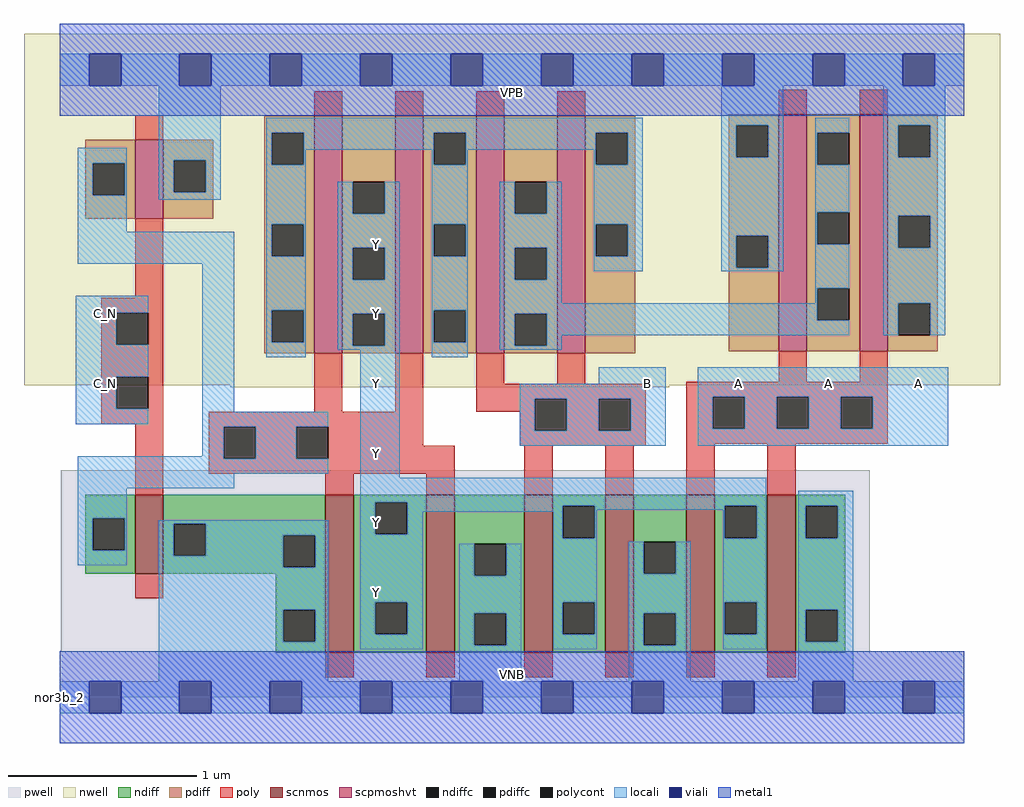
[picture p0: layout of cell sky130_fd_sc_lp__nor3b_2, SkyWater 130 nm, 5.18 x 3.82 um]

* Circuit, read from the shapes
.subckt sky130_fd_sc_lp__nor3b_2 A B C_N VGND VNB VPB VPWR Y
XM1 VGND C_N n1 VNB sky130_fd_pr__nfet_01v8 w=0.42 l=0.15
XM2 Y n1 VGND VNB sky130_fd_pr__nfet_01v8 w=0.84 l=0.15 m=2
XM3 Y B VGND VNB sky130_fd_pr__nfet_01v8 w=0.84 l=0.15 m=2
XM4 Y A VGND VNB sky130_fd_pr__nfet_01v8 w=0.84 l=0.15 m=2
XM5 VPWR C_N n1 VPB sky130_fd_pr__pfet_01v8_hvt w=0.42 l=0.15
XM6 Y n1 n2 VPB sky130_fd_pr__pfet_01v8_hvt w=1.26 l=0.15 m=2
XM7 n3 B n2 VPB sky130_fd_pr__pfet_01v8_hvt w=1.26 l=0.15 m=2
XM8 n3 A VPWR VPB sky130_fd_pr__pfet_01v8_hvt w=1.26 l=0.15 m=2
.ends

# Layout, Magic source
magic
tech sky130A
magscale 1 2
<< nwell >>
rect -38 331 998 704
rect 181 329 647 331
<< pwell >>
rect 1 49 860 241
rect 0 0 960 49
<< scnmos >>
rect 80 131 110 215
rect 282 47 312 215
rect 389 47 419 215
rect 493 47 523 215
rect 579 47 609 215
rect 665 47 695 215
rect 751 47 781 215
<< scpmoshvt >>
rect 80 508 110 592
rect 270 365 300 617
rect 356 365 386 617
rect 442 365 472 617
rect 528 365 558 617
rect 763 367 793 619
rect 849 367 879 619
<< ndiff >>
rect 27 190 80 215
rect 27 156 35 190
rect 69 156 80 190
rect 27 131 80 156
rect 110 184 282 215
rect 110 150 121 184
rect 155 172 282 184
rect 155 150 237 172
rect 110 138 237 150
rect 271 138 282 172
rect 110 131 282 138
rect 229 93 282 131
rect 229 59 237 93
rect 271 59 282 93
rect 229 47 282 59
rect 312 207 389 215
rect 312 173 335 207
rect 369 173 389 207
rect 312 101 389 173
rect 312 67 335 101
rect 369 67 389 101
rect 312 47 389 67
rect 419 163 493 215
rect 419 129 440 163
rect 474 129 493 163
rect 419 89 493 129
rect 419 55 440 89
rect 474 55 493 89
rect 419 47 493 55
rect 523 203 579 215
rect 523 169 534 203
rect 568 169 579 203
rect 523 101 579 169
rect 523 67 534 101
rect 568 67 579 101
rect 523 47 579 67
rect 609 165 665 215
rect 609 131 620 165
rect 654 131 665 165
rect 609 89 665 131
rect 609 55 620 89
rect 654 55 665 89
rect 609 47 665 55
rect 695 203 751 215
rect 695 169 706 203
rect 740 169 751 203
rect 695 101 751 169
rect 695 67 706 101
rect 740 67 751 101
rect 695 47 751 67
rect 781 203 834 215
rect 781 169 792 203
rect 826 169 834 203
rect 781 93 834 169
rect 781 59 792 93
rect 826 59 834 93
rect 781 47 834 59
<< pdiff >>
rect 217 599 270 617
rect 27 567 80 592
rect 27 533 35 567
rect 69 533 80 567
rect 27 508 80 533
rect 110 570 163 592
rect 110 536 121 570
rect 155 536 163 570
rect 110 508 163 536
rect 217 565 225 599
rect 259 565 270 599
rect 217 502 270 565
rect 217 468 225 502
rect 259 468 270 502
rect 217 411 270 468
rect 217 377 225 411
rect 259 377 270 411
rect 217 365 270 377
rect 300 547 356 617
rect 300 513 311 547
rect 345 513 356 547
rect 300 477 356 513
rect 300 443 311 477
rect 345 443 356 477
rect 300 407 356 443
rect 300 373 311 407
rect 345 373 356 407
rect 300 365 356 373
rect 386 599 442 617
rect 386 565 397 599
rect 431 565 442 599
rect 386 502 442 565
rect 386 468 397 502
rect 431 468 442 502
rect 386 411 442 468
rect 386 377 397 411
rect 431 377 442 411
rect 386 365 442 377
rect 472 547 528 617
rect 472 513 483 547
rect 517 513 528 547
rect 472 477 528 513
rect 472 443 483 477
rect 517 443 528 477
rect 472 407 528 443
rect 472 373 483 407
rect 517 373 528 407
rect 472 365 528 373
rect 558 599 611 617
rect 558 565 569 599
rect 603 565 611 599
rect 558 502 611 565
rect 558 468 569 502
rect 603 468 611 502
rect 558 365 611 468
rect 710 607 763 619
rect 710 573 718 607
rect 752 573 763 607
rect 710 490 763 573
rect 710 456 718 490
rect 752 456 763 490
rect 710 367 763 456
rect 793 599 849 619
rect 793 565 804 599
rect 838 565 849 599
rect 793 515 849 565
rect 793 481 804 515
rect 838 481 849 515
rect 793 434 849 481
rect 793 400 804 434
rect 838 400 849 434
rect 793 367 849 400
rect 879 607 932 619
rect 879 573 890 607
rect 924 573 932 607
rect 879 511 932 573
rect 879 477 890 511
rect 924 477 932 511
rect 879 418 932 477
rect 879 384 890 418
rect 924 384 932 418
rect 879 367 932 384
<< ndiffc >>
rect 35 156 69 190
rect 121 150 155 184
rect 237 138 271 172
rect 237 59 271 93
rect 335 173 369 207
rect 335 67 369 101
rect 440 129 474 163
rect 440 55 474 89
rect 534 169 568 203
rect 534 67 568 101
rect 620 131 654 165
rect 620 55 654 89
rect 706 169 740 203
rect 706 67 740 101
rect 792 169 826 203
rect 792 59 826 93
<< pdiffc >>
rect 35 533 69 567
rect 121 536 155 570
rect 225 565 259 599
rect 225 468 259 502
rect 225 377 259 411
rect 311 513 345 547
rect 311 443 345 477
rect 311 373 345 407
rect 397 565 431 599
rect 397 468 431 502
rect 397 377 431 411
rect 483 513 517 547
rect 483 443 517 477
rect 483 373 517 407
rect 569 565 603 599
rect 569 468 603 502
rect 718 573 752 607
rect 718 456 752 490
rect 804 565 838 599
rect 804 481 838 515
rect 804 400 838 434
rect 890 573 924 607
rect 890 477 924 511
rect 890 384 924 418
<< poly >>
rect 80 592 110 618
rect 270 617 300 643
rect 356 617 386 643
rect 442 617 472 643
rect 528 617 558 643
rect 763 619 793 645
rect 849 619 879 645
rect 80 424 110 508
rect 44 408 110 424
rect 44 374 60 408
rect 94 374 110 408
rect 44 340 110 374
rect 44 306 60 340
rect 94 306 110 340
rect 44 290 110 306
rect 270 303 300 365
rect 356 303 386 365
rect 442 333 472 365
rect 528 333 558 365
rect 763 335 793 367
rect 849 335 879 367
rect 442 317 622 333
rect 442 303 504 317
rect 80 215 110 290
rect 158 287 386 303
rect 158 253 174 287
rect 208 253 251 287
rect 285 267 386 287
rect 488 283 504 303
rect 538 283 572 317
rect 606 283 622 317
rect 488 267 622 283
rect 665 319 879 335
rect 665 285 693 319
rect 727 285 761 319
rect 795 285 829 319
rect 863 285 879 319
rect 665 269 879 285
rect 285 253 419 267
rect 158 237 419 253
rect 282 215 312 237
rect 389 215 419 237
rect 493 215 523 267
rect 579 215 609 267
rect 665 215 695 269
rect 751 215 781 269
rect 80 105 110 131
rect 282 21 312 47
rect 389 21 419 47
rect 493 21 523 47
rect 579 21 609 47
rect 665 21 695 47
rect 751 21 781 47
<< polycont >>
rect 60 374 94 408
rect 60 306 94 340
rect 174 253 208 287
rect 251 253 285 287
rect 504 283 538 317
rect 572 283 606 317
rect 693 285 727 319
rect 761 285 795 319
rect 829 285 863 319
<< locali >>
rect 0 649 31 683
rect 65 649 127 683
rect 161 649 223 683
rect 257 649 319 683
rect 353 649 415 683
rect 449 649 511 683
rect 545 649 607 683
rect 641 649 703 683
rect 737 649 799 683
rect 833 649 895 683
rect 929 649 960 683
rect 19 567 71 583
rect 19 533 35 567
rect 69 533 71 567
rect 19 494 71 533
rect 105 570 171 649
rect 105 536 121 570
rect 155 536 171 570
rect 105 528 171 536
rect 219 599 619 615
rect 219 565 225 599
rect 259 581 397 599
rect 259 565 261 581
rect 219 502 261 565
rect 395 565 397 581
rect 431 581 569 599
rect 431 565 433 581
rect 19 460 185 494
rect 17 408 94 426
rect 17 374 60 408
rect 17 340 94 374
rect 17 306 60 340
rect 17 290 94 306
rect 151 303 185 460
rect 219 468 225 502
rect 259 468 261 502
rect 219 411 261 468
rect 219 377 225 411
rect 259 377 261 411
rect 219 361 261 377
rect 295 513 311 547
rect 345 513 361 547
rect 295 477 361 513
rect 295 443 311 477
rect 345 443 361 477
rect 295 407 361 443
rect 295 373 311 407
rect 345 373 361 407
rect 295 369 361 373
rect 151 287 285 303
rect 151 256 174 287
rect 19 253 174 256
rect 208 253 251 287
rect 19 237 285 253
rect 19 222 185 237
rect 319 233 361 369
rect 395 502 433 565
rect 567 565 569 581
rect 603 565 619 599
rect 395 468 397 502
rect 431 468 433 502
rect 395 411 433 468
rect 395 377 397 411
rect 431 377 433 411
rect 395 361 433 377
rect 467 513 483 547
rect 517 513 533 547
rect 467 477 533 513
rect 467 443 483 477
rect 517 443 533 477
rect 567 502 619 565
rect 567 468 569 502
rect 603 468 619 502
rect 567 452 619 468
rect 702 607 768 649
rect 702 573 718 607
rect 752 573 768 607
rect 702 490 768 573
rect 702 456 718 490
rect 752 456 768 490
rect 702 452 768 456
rect 802 599 838 615
rect 802 565 804 599
rect 802 515 838 565
rect 802 481 804 515
rect 467 418 533 443
rect 802 434 838 481
rect 802 418 804 434
rect 467 407 804 418
rect 467 373 483 407
rect 517 400 804 407
rect 517 384 838 400
rect 874 607 940 649
rect 874 573 890 607
rect 924 573 940 607
rect 874 511 940 573
rect 874 477 890 511
rect 924 477 940 511
rect 874 418 940 477
rect 874 384 890 418
rect 924 384 940 418
rect 517 373 533 384
rect 467 369 533 373
rect 572 333 643 350
rect 488 317 643 333
rect 488 283 504 317
rect 538 283 572 317
rect 606 283 643 317
rect 488 267 643 283
rect 677 319 943 350
rect 677 285 693 319
rect 727 285 761 319
rect 795 285 829 319
rect 863 285 943 319
rect 677 267 943 285
rect 19 190 71 222
rect 19 156 35 190
rect 69 156 71 190
rect 319 207 750 233
rect 19 140 71 156
rect 105 184 285 188
rect 105 150 121 184
rect 155 172 285 184
rect 155 150 237 172
rect 105 138 237 150
rect 271 138 285 172
rect 105 93 285 138
rect 105 59 237 93
rect 271 59 285 93
rect 105 17 285 59
rect 319 173 335 207
rect 369 203 750 207
rect 369 197 534 203
rect 369 173 385 197
rect 319 101 385 173
rect 524 169 534 197
rect 568 199 706 203
rect 568 169 570 199
rect 319 67 335 101
rect 369 67 385 101
rect 319 51 385 67
rect 424 129 440 163
rect 474 129 490 163
rect 424 89 490 129
rect 424 55 440 89
rect 474 55 490 89
rect 424 17 490 55
rect 524 101 570 169
rect 704 169 706 199
rect 740 169 750 203
rect 524 67 534 101
rect 568 67 570 101
rect 524 51 570 67
rect 604 131 620 165
rect 654 131 670 165
rect 604 89 670 131
rect 604 55 620 89
rect 654 55 670 89
rect 604 17 670 55
rect 704 101 750 169
rect 704 67 706 101
rect 740 67 750 101
rect 704 51 750 67
rect 784 203 842 219
rect 784 169 792 203
rect 826 169 842 203
rect 784 93 842 169
rect 784 59 792 93
rect 826 59 842 93
rect 784 17 842 59
rect 0 -17 31 17
rect 65 -17 127 17
rect 161 -17 223 17
rect 257 -17 319 17
rect 353 -17 415 17
rect 449 -17 511 17
rect 545 -17 607 17
rect 641 -17 703 17
rect 737 -17 799 17
rect 833 -17 895 17
rect 929 -17 960 17
<< viali >>
rect 31 649 65 683
rect 127 649 161 683
rect 223 649 257 683
rect 319 649 353 683
rect 415 649 449 683
rect 511 649 545 683
rect 607 649 641 683
rect 703 649 737 683
rect 799 649 833 683
rect 895 649 929 683
rect 31 -17 65 17
rect 127 -17 161 17
rect 223 -17 257 17
rect 319 -17 353 17
rect 415 -17 449 17
rect 511 -17 545 17
rect 607 -17 641 17
rect 703 -17 737 17
rect 799 -17 833 17
rect 895 -17 929 17
<< metal1 >>
rect 0 683 960 715
rect 0 649 31 683
rect 65 649 127 683
rect 161 649 223 683
rect 257 649 319 683
rect 353 649 415 683
rect 449 649 511 683
rect 545 649 607 683
rect 641 649 703 683
rect 737 649 799 683
rect 833 649 895 683
rect 929 649 960 683
rect 0 617 960 649
rect 0 17 960 49
rect 0 -17 31 17
rect 65 -17 127 17
rect 161 -17 223 17
rect 257 -17 319 17
rect 353 -17 415 17
rect 449 -17 511 17
rect 545 -17 607 17
rect 641 -17 703 17
rect 737 -17 799 17
rect 833 -17 895 17
rect 929 -17 960 17
rect 0 -49 960 -17
<< labels >>
flabel pwell s 0 0 960 49 0 FreeSans 200 0 0 0 VNB
port 5 nsew ground bidirectional
flabel nwell s 0 617 960 666 0 FreeSans 200 0 0 0 VPB
port 6 nsew power bidirectional
rlabel comment s 0 0 0 0 4 nor3b_2
flabel metal1 s 0 617 960 666 0 FreeSans 340 0 0 0 VPWR
port 7 nsew power bidirectional
flabel metal1 s 0 0 960 49 0 FreeSans 340 0 0 0 VGND
port 4 nsew ground bidirectional
flabel locali s 703 316 737 350 0 FreeSans 340 0 0 0 A
port 1 nsew signal input
flabel locali s 799 316 833 350 0 FreeSans 340 0 0 0 A
port 1 nsew signal input
flabel locali s 895 316 929 350 0 FreeSans 340 0 0 0 A
port 1 nsew signal input
flabel locali s 319 94 353 128 0 FreeSans 340 0 0 0 Y
port 8 nsew signal output
flabel locali s 319 168 353 202 0 FreeSans 340 0 0 0 Y
port 8 nsew signal output
flabel locali s 319 242 353 276 0 FreeSans 340 0 0 0 Y
port 8 nsew signal output
flabel locali s 319 316 353 350 0 FreeSans 340 0 0 0 Y
port 8 nsew signal output
flabel locali s 319 390 353 424 0 FreeSans 340 0 0 0 Y
port 8 nsew signal output
flabel locali s 319 464 353 498 0 FreeSans 340 0 0 0 Y
port 8 nsew signal output
flabel locali s 607 316 641 350 0 FreeSans 340 0 0 0 B
port 2 nsew signal input
flabel locali s 31 316 65 350 0 FreeSans 340 0 0 0 C_N
port 3 nsew signal input
flabel locali s 31 390 65 424 0 FreeSans 340 0 0 0 C_N
port 3 nsew signal input
<< properties >>
string LEFsite unit
string LEFclass CORE
string FIXED_BBOX 0 0 960 666
string GDS_FILE $PDKPATH/libs.ref/sky130_fd_sc_lp/gds/sky130_fd_sc_lp.gds
string LEFsymmetry X Y R90
string GDS_END 1163340
string GDS_START 1153986
<< end >>
